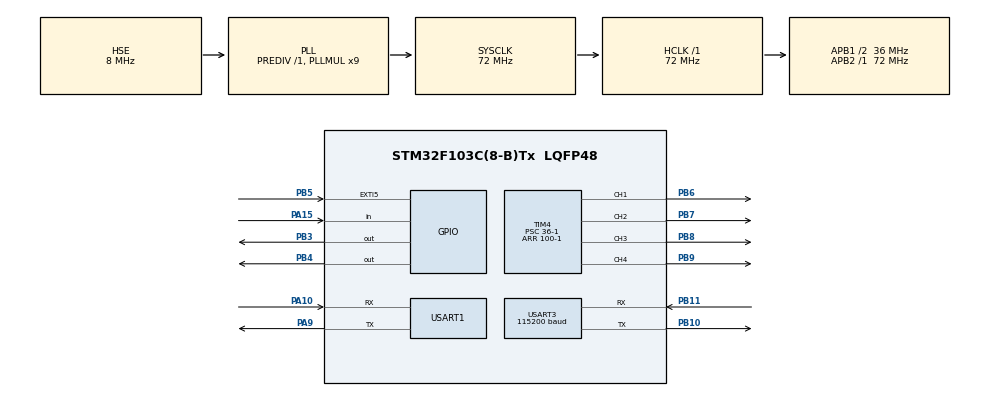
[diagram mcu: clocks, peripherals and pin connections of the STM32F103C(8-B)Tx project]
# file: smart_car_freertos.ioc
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FREERTOS.Tasks01=defaultTask,0,128,StartDefaultTask,Default,NULL,Dynamic,NULL,NULL;robot_move,0,128,robot_move_task,Default,NULL,Dynamic,NULL,NULL;HC_05,0,128,HC_05_Task,Default,NULL,Dynamic,NULL,NULL;MPU6050,-3,128,MPU6050_task,Default,NULL,Dynamic,NULL,NULL
Mcu.Family=STM32F1
Mcu.Name=STM32F103C(8-B)Tx
Mcu.Package=LQFP48
NVIC.PriorityGroup=NVIC_PRIORITYGROUP_4
NVIC.TIM1_UP_IRQn=true\:15\:0\:true\:false\:true\:false\:false\:true\:true
NVIC.TimeBase=TIM1_UP_IRQn
NVIC.TimeBaseIP=TIM1
NVIC.USART1_IRQn=true\:5\:0\:false\:false\:true\:true\:true\:true\:true
NVIC.USART3_IRQn=true\:5\:0\:false\:false\:true\:true\:true\:true\:true
PA10.Mode=Asynchronous
PA10.Signal=USART1_RX
PA13.Mode=Serial_Wire
PA13.Signal=SYS_JTMS-SWDIO
PA14.Mode=Serial_Wire
PA14.Signal=SYS_JTCK-SWCLK
PA15.Signal=GPIO_Input
PA9.Mode=Asynchronous
PA9.Signal=USART1_TX
PB10.Mode=Asynchronous
PB10.Signal=USART3_TX
PB11.Mode=Asynchronous
PB11.Signal=USART3_RX
PB3.GPIO_ModeDefaultOutputPP=GPIO_MODE_OUTPUT_OD
PB3.GPIO_PuPd=GPIO_NOPULL
PB3.Signal=GPIO_Output
PB4.GPIO_ModeDefaultOutputPP=GPIO_MODE_OUTPUT_OD
PB4.GPIO_PuPd=GPIO_NOPULL
PB4.Signal=GPIO_Output
PB5.Signal=GPXTI5
PB6.Signal=S_TIM4_CH1
PB7.Signal=S_TIM4_CH2
PB8.Signal=S_TIM4_CH3
PB9.Signal=S_TIM4_CH4
PD0-OSC_IN.Mode=HSE-External-Oscillator
PD0-OSC_IN.Signal=RCC_OSC_IN
PD1-OSC_OUT.Mode=HSE-External-Oscillator
PD1-OSC_OUT.Signal=RCC_OSC_OUT
ProjectManager.HeapSize=0x800
ProjectManager.StackSize=0x800
ProjectManager.TargetToolchain=MDK-ARM V5
RCC.AHBFreq_Value=72000000
RCC.APB1CLKDivider=RCC_HCLK_DIV2
RCC.APB1Freq_Value=36000000
RCC.APB1TimFreq_Value=72000000
RCC.APB2Freq_Value=72000000
RCC.APB2TimFreq_Value=72000000
RCC.HCLKFreq_Value=72000000
RCC.PLLMUL=RCC_PLL_MUL9
RCC.PLLSourceVirtual=RCC_PLLSOURCE_HSE
RCC.SYSCLKFreq_VALUE=72000000
RCC.SYSCLKSource=RCC_SYSCLKSOURCE_PLLCLK
RCC.USBFreq_Value=72000000
SH.S_TIM4_CH1.0=TIM4_CH1,PWM Generation1 CH1
SH.S_TIM4_CH2.0=TIM4_CH2,PWM Generation2 CH2
SH.S_TIM4_CH3.0=TIM4_CH3,PWM Generation3 CH3
SH.S_TIM4_CH4.0=TIM4_CH4,PWM Generation4 CH4
TIM4.AutoReloadPreload=TIM_AUTORELOAD_PRELOAD_ENABLE
TIM4.Channel-PWM\ Generation1\ CH1=TIM_CHANNEL_1
TIM4.Channel-PWM\ Generation2\ CH2=TIM_CHANNEL_2
TIM4.Channel-PWM\ Generation3\ CH3=TIM_CHANNEL_3
TIM4.Channel-PWM\ Generation4\ CH4=TIM_CHANNEL_4
TIM4.Period=100-1
TIM4.Prescaler=36-1
USART1.VirtualMode=VM_ASYNC
USART3.BaudRate=115200
USART3.VirtualMode=VM_ASYNC
VP_FREERTOS_VS_CMSIS_V1.Mode=CMSIS_V1
VP_SYS_VS_tim1.Mode=TIM1
board=custom

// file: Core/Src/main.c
/* USER CODE BEGIN Header */
/**
  ******************************************************************************
  * @file           : main.c
  * @brief          : Main program body
  ******************************************************************************
  * @attention
  *
  * Copyright (c) 2025 STMicroelectronics.
  * All rights reserved.
  *
  * This software is licensed under terms that can be found in the LICENSE file
  * in the root directory of this software component.
  * If no LICENSE file comes with this software, it is provided AS-IS.
  *
  ******************************************************************************
  */
/* USER CODE END Header */
#include "main.h"
#include "cmsis_os.h"

/* USER CODE BEGIN Includes */
#include "robot.h"
#include  "Key.h"
#include "myUsart.h"
#include "stm32f1xx_hal.h"
#include "stdio.h"
#include "stdarg.h"
#include "myUsart.h"
#include <stm32f1xx_hal_usart.h>
#include "stm32f1xx_it.h"
#include "stm32f1xx_hal.h"
#include <string.h>
#include <robot.h>
#include <ml_mpu6050.h>
#include <ml_i2c.h>

/* USER CODE END Includes */

TIM_HandleTypeDef htim4;

UART_HandleTypeDef huart1;
UART_HandleTypeDef huart3;

osThreadId defaultTaskHandle;
osThreadId robot_moveHandle;
osThreadId HC_05Handle;
osThreadId MPU6050Handle;

void SystemClock_Config(void);
static void MX_GPIO_Init(void);
static void MX_TIM4_Init(void);
static void MX_USART3_UART_Init(void);
static void MX_USART1_UART_Init(void);
void StartDefaultTask(void const * argument);
void robot_move_task(void const * argument);
void HC_05_Task(void const * argument);
void MPU6050_task(void const * argument);

int main(void)
{

  /* MCU Configuration--------------------------------------------------------*/

  /* Reset of all peripherals, Initializes the Flash interface and the Systick. */
  HAL_Init();

  /* Configure the system clock */
  SystemClock_Config();

  /* Initialize all configured peripherals */
  MX_GPIO_Init();
  MX_TIM4_Init();
  MX_USART3_UART_Init();
  MX_USART1_UART_Init();
  /* USER CODE BEGIN 2 */
  myusart_init();
  I2C_Init();
  MPU6050_Init();
  /* USER CODE END 2 */

  /* Create the thread(s) */
  /* definition and creation of defaultTask */
  osThreadDef(defaultTask, StartDefaultTask, osPriorityNormal, 0, 128);
  defaultTaskHandle = osThreadCreate(osThread(defaultTask), NULL);

  /* definition and creation of robot_move */
  osThreadDef(robot_move, robot_move_task, osPriorityNormal, 0, 128);
  robot_moveHandle = osThreadCreate(osThread(robot_move), NULL);

  /* definition and creation of HC_05 */
  osThreadDef(HC_05, HC_05_Task, osPriorityNormal, 0, 128);
  HC_05Handle = osThreadCreate(osThread(HC_05), NULL);

  /* definition and creation of MPU6050 */
  osThreadDef(MPU6050, MPU6050_task, osPriorityIdle, 0, 128);
  MPU6050Handle = osThreadCreate(osThread(MPU6050), NULL);

  /* Start scheduler */
  osKernelStart();

  /* We should never get here as control is now taken by the scheduler */

  /* Infinite loop */
  while (1)
  {

  }
}

void SystemClock_Config(void)
{
  RCC_OscInitTypeDef RCC_OscInitStruct = {0};
  RCC_ClkInitTypeDef RCC_ClkInitStruct = {0};

  /** Initializes the RCC Oscillators according to the specified parameters
  * in the RCC_OscInitTypeDef structure.
  */
  RCC_OscInitStruct.OscillatorType = RCC_OSCILLATORTYPE_HSE;
  RCC_OscInitStruct.HSEState = RCC_HSE_ON;
  RCC_OscInitStruct.HSEPredivValue = RCC_HSE_PREDIV_DIV1;
  RCC_OscInitStruct.HSIState = RCC_HSI_ON;
  RCC_OscInitStruct.PLL.PLLState = RCC_PLL_ON;
  RCC_OscInitStruct.PLL.PLLSource = RCC_PLLSOURCE_HSE;
  RCC_OscInitStruct.PLL.PLLMUL = RCC_PLL_MUL9;
  if (HAL_RCC_OscConfig(&RCC_OscInitStruct) != HAL_OK)
  {
    Error_Handler();
  }

  /** Initializes the CPU, AHB and APB buses clocks
  */
  RCC_ClkInitStruct.ClockType = RCC_CLOCKTYPE_HCLK|RCC_CLOCKTYPE_SYSCLK
                              |RCC_CLOCKTYPE_PCLK1|RCC_CLOCKTYPE_PCLK2;
  RCC_ClkInitStruct.SYSCLKSource = RCC_SYSCLKSOURCE_PLLCLK;
  RCC_ClkInitStruct.AHBCLKDivider = RCC_SYSCLK_DIV1;
  RCC_ClkInitStruct.APB1CLKDivider = RCC_HCLK_DIV2;
  RCC_ClkInitStruct.APB2CLKDivider = RCC_HCLK_DIV1;

  if (HAL_RCC_ClockConfig(&RCC_ClkInitStruct, FLASH_LATENCY_2) != HAL_OK)
  {
    Error_Handler();
  }
}

static void MX_TIM4_Init(void)
{

  TIM_MasterConfigTypeDef sMasterConfig = {0};
  TIM_OC_InitTypeDef sConfigOC = {0};

  htim4.Instance = TIM4;
  htim4.Init.Prescaler = 36-1;
  htim4.Init.CounterMode = TIM_COUNTERMODE_UP;
  htim4.Init.Period = 100-1;
  htim4.Init.ClockDivision = TIM_CLOCKDIVISION_DIV1;
  htim4.Init.AutoReloadPreload = TIM_AUTORELOAD_PRELOAD_ENABLE;
  if (HAL_TIM_PWM_Init(&htim4) != HAL_OK)
  {
    Error_Handler();
  }
  sMasterConfig.MasterOutputTrigger = TIM_TRGO_RESET;
  sMasterConfig.MasterSlaveMode = TIM_MASTERSLAVEMODE_DISABLE;
  if (HAL_TIMEx_MasterConfigSynchronization(&htim4, &sMasterConfig) != HAL_OK)
  {
    Error_Handler();
  }
  sConfigOC.OCMode = TIM_OCMODE_PWM1;
  sConfigOC.Pulse = 0;
  sConfigOC.OCPolarity = TIM_OCPOLARITY_HIGH;
  sConfigOC.OCFastMode = TIM_OCFAST_DISABLE;
  if (HAL_TIM_PWM_ConfigChannel(&htim4, &sConfigOC, TIM_CHANNEL_1) != HAL_OK)
  {
    Error_Handler();
  }
  if (HAL_TIM_PWM_ConfigChannel(&htim4, &sConfigOC, TIM_CHANNEL_2) != HAL_OK)
  {
    Error_Handler();
  }
  if (HAL_TIM_PWM_ConfigChannel(&htim4, &sConfigOC, TIM_CHANNEL_3) != HAL_OK)
  {
    Error_Handler();
  }
  if (HAL_TIM_PWM_ConfigChannel(&htim4, &sConfigOC, TIM_CHANNEL_4) != HAL_OK)
  {
    Error_Handler();
  }
  HAL_TIM_MspPostInit(&htim4);

}

static void MX_USART1_UART_Init(void)
{

  huart1.Instance = USART1;
  huart1.Init.BaudRate = 115200;
  huart1.Init.WordLength = UART_WORDLENGTH_8B;
  huart1.Init.StopBits = UART_STOPBITS_1;
  huart1.Init.Parity = UART_PARITY_NONE;
  huart1.Init.Mode = UART_MODE_TX_RX;
  huart1.Init.HwFlowCtl = UART_HWCONTROL_NONE;
  huart1.Init.OverSampling = UART_OVERSAMPLING_16;
  if (HAL_UART_Init(&huart1) != HAL_OK)
  {
    Error_Handler();
  }

}

static void MX_USART3_UART_Init(void)
{

  huart3.Instance = USART3;
  huart3.Init.BaudRate = 115200;
  huart3.Init.WordLength = UART_WORDLENGTH_8B;
  huart3.Init.StopBits = UART_STOPBITS_1;
  huart3.Init.Parity = UART_PARITY_NONE;
  huart3.Init.Mode = UART_MODE_TX_RX;
  huart3.Init.HwFlowCtl = UART_HWCONTROL_NONE;
  huart3.Init.OverSampling = UART_OVERSAMPLING_16;
  if (HAL_UART_Init(&huart3) != HAL_OK)
  {
    Error_Handler();
  }

}

static void MX_GPIO_Init(void)
{
  GPIO_InitTypeDef GPIO_InitStruct = {0};

  /* GPIO Ports Clock Enable */
  __HAL_RCC_GPIOD_CLK_ENABLE();
  __HAL_RCC_GPIOB_CLK_ENABLE();
  __HAL_RCC_GPIOA_CLK_ENABLE();

  /*Configure GPIO pin Output Level */
  HAL_GPIO_WritePin(GPIOB, GPIO_PIN_3|GPIO_PIN_4, GPIO_PIN_RESET);

  /*Configure GPIO pin : PA15 */
  GPIO_InitStruct.Pin = GPIO_PIN_15;
  GPIO_InitStruct.Mode = GPIO_MODE_INPUT;
  GPIO_InitStruct.Pull = GPIO_NOPULL;
  HAL_GPIO_Init(GPIOA, &GPIO_InitStruct);

  /*Configure GPIO pins : PB3 PB4 */
  GPIO_InitStruct.Pin = GPIO_PIN_3|GPIO_PIN_4;
  GPIO_InitStruct.Mode = GPIO_MODE_OUTPUT_OD;
  GPIO_InitStruct.Pull = GPIO_NOPULL;
  GPIO_InitStruct.Speed = GPIO_SPEED_FREQ_LOW;
  HAL_GPIO_Init(GPIOB, &GPIO_InitStruct);

  /*Configure GPIO pin : PB5 */
  GPIO_InitStruct.Pin = GPIO_PIN_5;
  GPIO_InitStruct.Mode = GPIO_MODE_IT_RISING;
  GPIO_InitStruct.Pull = GPIO_NOPULL;
  HAL_GPIO_Init(GPIOB, &GPIO_InitStruct);

}

void StartDefaultTask(void const * argument)
{
  for(;;)
  {
    osDelay(1);
  }
}

void robot_move_task(void const * argument)
{
  /* USER CODE BEGIN robot_move_task */
  robot_Init();
  int Key_Value = 0;
  makerobo_run(70, 5000);
  /* Infinite loop */
  for(;;)
  {

    Key_Value = Key_GetNum();
    if(Key_Value == 1)
    {

      makerobo_run(70,2000);//?тА??├и??1S
     s_printf("Key_GetNum() == 1\r\n");
     Key_Value=0;

   }
    osDelay(10);
  }
  /* USER CODE END robot_move_task */
}

void HC_05_Task(void const * argument)
{
  /* USER CODE BEGIN HC_05_Task */
  /* Infinite loop */
  for(;;)
  {

    HC_05_RUN();
    osDelay(10);
  }
  /* USER CODE END HC_05_Task */
}

void MPU6050_task(void const * argument)
{
  /* USER CODE BEGIN MPU6050_task */
  /* Infinite loop */
  for(;;)
  {
    MPU6050_GetData();
    s_printf("ax:%d,ay:%d,az:%d\r\n",ax,ay,az);
    s_printf("gx:%d,gy:%d,gz:%d\r\n",gx, gy, gz);
    osDelay(1000);
  }
  /* USER CODE END MPU6050_task */
}

void HAL_TIM_PeriodElapsedCallback(TIM_HandleTypeDef *htim)
{
  if (htim->Instance == TIM1) {
    HAL_IncTick();
  }
}

void Error_Handler(void)
{
  __disable_irq();
  while (1)
  {
  }
}
